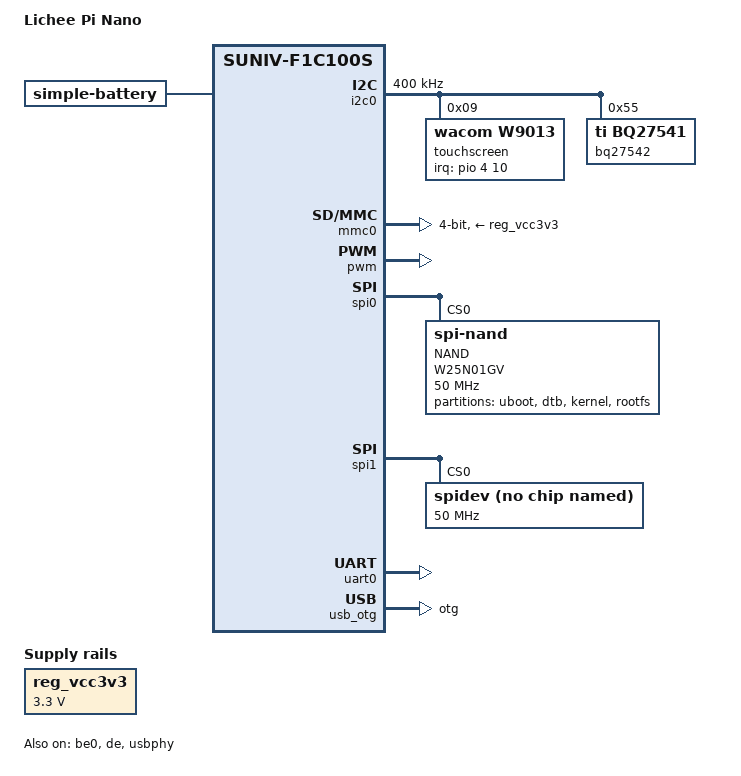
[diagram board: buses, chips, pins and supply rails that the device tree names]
// SPDX-License-Identifier: (GPL-2.0+ OR X11)
/*
 * Copyright 2018 Icenowy Zheng <icenowy@aosc.io>
 */

/dts-v1/;
#include "suniv-f1c100s.dtsi"
#include <dt-bindings/gpio/gpio.h>
#include <dt-bindings/pwm/pwm.h>
#include <dt-bindings/input/input.h>
#include <dt-bindings/interrupt-controller/irq.h>
#include "sunxi-common-regulators.dtsi"

/ {
	model = "Lichee Pi Nano";
	compatible = "licheepi,licheepi-nano", "allwinner,suniv-f1c100s";

	aliases {
		serial0 = &uart0;
		spi0 = &spi0;
		spi1 = &spi1;
		i2c0 = &i2c0;
		pwm = &pwm;
	};

	chosen {
		stdout-path = "serial0:115200n8";
	};

//	panel: panel {
//		compatible = "lg,lb070wv8", "simple-panel";
//		#address-cells = <1>;
//		#size-cells = <0>;
//		power-supply = <&reg_vcc3v3>;

//		port@0 {
//			reg = <0>;
//			#address-cells = <1>;
//			#size-cells = <0>;

//			panel_input: endpoint@0 {
//				reg = <0>;
//				remote-endpoint = <&tcon0_out_lcd>;
//			};
//		};
//	};

	reg_vcc3v3: vcc3v3 {
		compatible = "regulator-fixed";
		regulator-name = "vcc3v3";
		regulator-min-microvolt = <3300000>;
		regulator-max-microvolt = <3300000>;
	};

	bat: battery{// ALl settings are unique to each battery !
		compatible = "simple-battery";
		voltage-min-design-microvolt = <2500000>; // minimum voltage that hurts battery less is 2.5v
		energy-full-design-microwatt-hours = <14800000>; // 0.814 mWh -> 8.14e5 uWh
		charge-full-design-microamp-hours = <4000000>; // 220 mAh -> 2.2e5 uAh
	};
};

&otg_sram{
	status = "okay";
};

&be0 {
	status = "okay";
};

&de {
	status = "okay";
};

&i2c0 {
    pinctrl-0 = <&i2c0_pins>;
    pinctrl-names = "default";
    status = "okay";
    clock-frequency = <400000>;// 400kHz
    WACrst-gpios = <&pio 4 9 GPIO_ACTIVE_HIGH>;//PE9, host reset w9013 when it cause bus lock.

	touchscreen: digitizer@9{
		pinctrl-names = "default";
		pinctrl-0 = <&WACINT_pin>;
		compatible = "wacom,w9013";
		reg = <0x09>;//W9013 i2c address
		interrupt-parent = <&pio>;// Interrupt parent is our pin control (pio)
		interrupts = <4 10 IRQ_TYPE_EDGE_FALLING>;//PE 10 detect falling edge, 4 represent port E
	};

	bq27542: fuel-guage@55{
		compatible = "ti,bq27541";
		reg = <0x55>;
		monitored-battery = <&bat>;
	};
};

&mmc0 {
	vmmc-supply = <&reg_vcc3v3>;
	bus-width = <4>;
	broken-cd;
	status = "okay";
};

&pio {
	status = "okay";
};

&pwm{
	pinctrl-names = "default";
	pinctrl-0 = <&pwm1_pins>;
	status = "okay";
};

&spi0 {
	pinctrl-names = "default";
	pinctrl-0 = <&spi0_pins_a>;
	status = "okay";

	NAND:W25N01GV@0 {
		#address-cells = <1>;
		#size-cells = <1>;
		compatible = "spi-nand","allwinner,sun4i-a10-nand";
		reg = <0>;
		spi-max-frequency = <50000000>;

        partitions {
            compatible = "fixed-partitions";
            #address-cells = <1>;
            #size-cells = <1>;

            partition@0 {
                label = "uboot";
                reg = <0x000000 0x80000>;
                read-only;
            };

            partition@80000 {
                label = "dtb";
                reg = <0x80000 0x2800>;
                read-only;
            };

            partition@A0000 {
                label = "kernel";
                reg = <0xA0000 0x400000>;
                read-only;
            };

            partition@4A0000 {
                label = "rootfs";
                reg = <0x4A0000 0x7B60000>;
            };
        };
        	};

};

&spi1 {
	pinctrl-names = "default";
	pinctrl-0 = <&spi1_pins_a>;
	status = "okay";
	
//	fb@0{  
//		#address-cell = <1>;
//		#size-cell = <0>;
//		reg = <0>;
//		compatible = "sharp,sharp-memlcd";
//		pwms = <&pwm 1 20000000 0>; // pwmchip0 (from &pwm1) period 0.016/666/666 second (1.6e7 ns).
//		vcs-gpios = <&pio 4 3 GPIO_ACTIVE_LOW>; //virtual CS pin PE3 
//		spi-max-frequency = <2000000>; // 2MHz
//		spi-cs-high;
//		spi-lsb-first;
//	};

	spidev@0{
		#address-cell = <1>;
		#size-cell = <1>;
		reg = <0>;
		compatible = "linux,spidev";
		spi-max-frequency = <50000000>; // 50MHz
		status = "okay";
	};
};

//&tcon0 {
//	pinctrl-names = "default";
//	pinctrl-0 = <&lcd_rgb666_pins>;
//	status = "okay";
//};

//&tcon0_out {
//	tcon0_out_lcd: endpoint@0 {
//		reg = <0>;
//		remote-endpoint = <&panel_input>;
//	};
//};

&uart0 {
	pinctrl-names = "default";
	pinctrl-0 = <&uart0_pe_pins>;
	status = "okay";
};

&usb_otg {
	dr_mode = "otg";
	status = "okay";
};

&usbphy {
	usb0_id_det-gpio = <&pio 4 2 GPIO_ACTIVE_HIGH>; /* PE2 */
	status = "okay";
};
